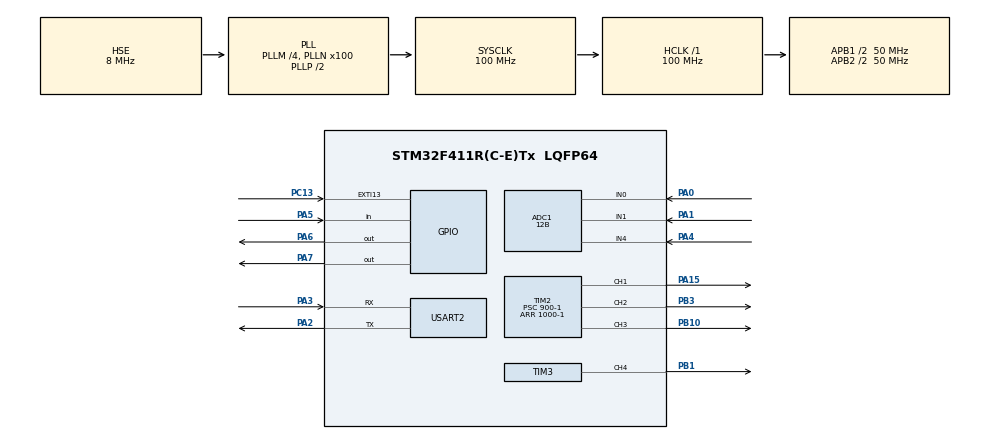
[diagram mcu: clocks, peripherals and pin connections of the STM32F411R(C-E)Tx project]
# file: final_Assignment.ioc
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ADC1.Channel-0\#ChannelRegularConversion=ADC_CHANNEL_0
ADC1.Channel-1\#ChannelRegularConversion=ADC_CHANNEL_1
ADC1.Channel-2\#ChannelRegularConversion=ADC_CHANNEL_4
ADC1.ContinuousConvMode=ENABLE
ADC1.EOCSelection=ADC_EOC_SINGLE_CONV
ADC1.NbrOfConversion=3
ADC1.NbrOfConversionFlag=1
ADC1.Rank-0\#ChannelRegularConversion=1
ADC1.Rank-1\#ChannelRegularConversion=2
ADC1.Rank-2\#ChannelRegularConversion=3
ADC1.Resolution=ADC_RESOLUTION_12B
ADC1.SamplingTime-0\#ChannelRegularConversion=ADC_SAMPLETIME_480CYCLES
ADC1.SamplingTime-1\#ChannelRegularConversion=ADC_SAMPLETIME_480CYCLES
ADC1.SamplingTime-2\#ChannelRegularConversion=ADC_SAMPLETIME_480CYCLES
ADC1.ScanConvMode=ENABLE
ADC1.master=1
Mcu.Family=STM32F4
Mcu.Name=STM32F411R(C-E)Tx
Mcu.Package=LQFP64
NVIC.EXTI15_10_IRQn=true\:1\:1\:true\:false\:true\:true\:true
NVIC.PriorityGroup=NVIC_PRIORITYGROUP_1
NVIC.TIM2_IRQn=true\:0\:0\:false\:false\:true\:true\:true
NVIC.TIM3_IRQn=true\:0\:0\:false\:false\:true\:true\:true
PA0-WKUP.Signal=ADCx_IN0
PA1.Signal=ADCx_IN1
PA15.Signal=S_TIM2_CH1_ETR
PA2.Mode=Asynchronous
PA2.Signal=USART2_TX
PA3.Mode=Asynchronous
PA3.Signal=USART2_RX
PA4.Signal=ADCx_IN4
PA5.GPIO_Mode=GPIO_MODE_INPUT
PA5.GPIO_PuPd=GPIO_PULLUP
PA5.Signal=GPIO_Input
PA6.Signal=GPIO_Output
PA7.Signal=GPIO_Output
PB1.Signal=S_TIM3_CH4
PB10.Signal=S_TIM2_CH3
PB3.Signal=S_TIM2_CH2
PC13-ANTI_TAMP.GPIO_ModeDefaultEXTI=GPIO_MODE_IT_FALLING
PC13-ANTI_TAMP.Signal=GPXTI13
PH0\ -\ OSC_IN.Mode=HSE-External-Oscillator
PH0\ -\ OSC_IN.Signal=RCC_OSC_IN
PH1\ -\ OSC_OUT.Mode=HSE-External-Oscillator
PH1\ -\ OSC_OUT.Signal=RCC_OSC_OUT
ProjectManager.HeapSize=0x200
ProjectManager.StackSize=0x400
ProjectManager.TargetToolchain=MDK-ARM V5
RCC.48MHZClocksFreq_Value=50000000
RCC.AHBFreq_Value=100000000
RCC.APB1CLKDivider=RCC_HCLK_DIV2
RCC.APB1Freq_Value=50000000
RCC.APB1TimFreq_Value=100000000
RCC.APB2CLKDivider=RCC_HCLK_DIV2
RCC.APB2Freq_Value=50000000
RCC.APB2TimFreq_Value=100000000
RCC.CortexFreq_Value=100000000
RCC.FLatency-AdvancedSettings=FLASH_LATENCY_3
RCC.HCLKFreq_Value=100000000
RCC.HSE_VALUE=8000000
RCC.HSI_VALUE=16000000
RCC.LSE_VALUE=32768
RCC.PLLM=4
RCC.PLLN=100
RCC.PLLSourceVirtual=RCC_PLLSOURCE_HSE
RCC.SYSCLKFreq_VALUE=100000000
RCC.SYSCLKSource=RCC_SYSCLKSOURCE_PLLCLK
RCC.VCOOutputFreq_Value=200000000
SH.ADCx_IN0.0=ADC1_IN0,IN0
SH.ADCx_IN1.0=ADC1_IN1,IN1
SH.ADCx_IN4.0=ADC1_IN4,IN4
SH.S_TIM2_CH1_ETR.0=TIM2_CH1,PWM Generation1 CH1
SH.S_TIM2_CH2.0=TIM2_CH2,PWM Generation2 CH2
SH.S_TIM2_CH3.0=TIM2_CH3,PWM Generation3 CH3
SH.S_TIM3_CH4.0=TIM3_CH4,PWM Generation4 CH4
TIM2.Channel-PWM\ Generation1\ CH1=TIM_CHANNEL_1
TIM2.Channel-PWM\ Generation2\ CH2=TIM_CHANNEL_2
TIM2.Channel-PWM\ Generation3\ CH3=TIM_CHANNEL_3
TIM2.Period=1000-1
TIM2.Prescaler=900-1
TIM3.Channel-PWM\ Generation4\ CH4=TIM_CHANNEL_4
TIM3.Period=1000-1
TIM3.Prescaler=900-1
USART2.VirtualMode=VM_ASYNC
board=NUCLEO-F411RE

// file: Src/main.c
/* USER CODE BEGIN Header */
/**
  ******************************************************************************
  * @file           : main.c
  * @brief          : Main program body
  ******************************************************************************
  * @attention
  *
  * <h2><center>&copy; Copyright (c) 2020 STMicroelectronics.
  * All rights reserved.</center></h2>
  *
  * This software component is licensed by ST under BSD 3-Clause license,
  * the "License"; You may not use this file except in compliance with the
  * License. You may obtain a copy of the License at:
  *                        opensource.org/licenses/BSD-3-Clause
  *
  ******************************************************************************
  */
/* USER CODE END Header */

#include "main.h"
#include "adc.h"
#include "tim.h"
#include "usart.h"
#include "gpio.h"

/* USER CODE BEGIN Includes */
#include "string.h"
#include "stdio.h"
#include "stm32f4xx_it.h"
/* USER CODE END Includes */

/* USER CODE BEGIN PTD */
	uint16_t adc1,adc2,adc3;
	char msg[10];

/*----------------LEFT------------------------------*/
void servo_write2(int angle)
{
			htim2.Instance->CCR3	= map(0,180,25,125,angle*3);
}
/*----------------RIGHT------------------------------*/
void servo_write1(int angle)
{
	htim2.Instance->CCR2 = map(0,180,25,125,angle*2);
}
/*----------------BASE------------------------------*/
void servo_write(int angle)
{
	htim2.Instance->CCR1 = map(0,180,25,125,angle*3);

}

void servo_sweep(adc1,adc2,adc3)
{
				servo_write(adc1);
		   	HAL_Delay(10);

				servo_write1(adc2);
		   	HAL_Delay(10);

				servo_write2(adc3);
		   	HAL_Delay(10);

}
int map(int st1, int fn1, int st2, int fn2, int value)
{
    return (1.0*(value-st1))/((fn1-st1)*1.0) * (fn2-st2)+st2;
}

void manualMode(){

		 // Get ADC value
    HAL_ADC_Start(&hadc1);

		HAL_ADC_PollForConversion(&hadc1, HAL_MAX_DELAY);
		adc1 = HAL_ADC_GetValue(&hadc1);

		HAL_ADC_PollForConversion(&hadc1, HAL_MAX_DELAY);
		adc3 = HAL_ADC_GetValue(&hadc1);

		HAL_ADC_PollForConversion(&hadc1, HAL_MAX_DELAY);
		adc2 = HAL_ADC_GetValue(&hadc1);

		adc1 = adc1*0.045;

		adc2 = adc2*0.045;

		adc3 = adc3*0.045;

		sprintf(msg, "%hu\r\n", adc1);
    HAL_UART_Transmit(&huart2, (uint8_t*)msg, strlen(msg), HAL_MAX_DELAY);

		sprintf(msg, "%hu\r\n", adc2);
    HAL_UART_Transmit(&huart2, (uint8_t*)msg, strlen(msg), HAL_MAX_DELAY);

    sprintf(msg, "%hu\r\n", adc3);
    HAL_UART_Transmit(&huart2, (uint8_t*)msg, strlen(msg), HAL_MAX_DELAY);

		HAL_ADC_Stop(&hadc1);
		servo_sweep(adc1,adc2,adc3); //Use servo
}

void autoMode(){

		HAL_GPIO_WritePin(GPIOA,GPIO_PIN_7,1);
		HAL_GPIO_WritePin(GPIOA,GPIO_PIN_6,0);

		//Base
		htim2.Instance->CCR1 = 210;
		HAL_Delay(2000);

		//Head
		htim3.Instance->CCR4 = 300;
		HAL_Delay(2000);

		htim3.Instance->CCR4 = 150;
		HAL_Delay(2000);

		//Base
		htim2.Instance->CCR1 = 60;
		HAL_Delay(2000);

		//Head
		htim3.Instance->CCR4 = 300;
		HAL_Delay(2000);

		htim3.Instance->CCR4 = 150;
		HAL_Delay(2000);

}

void EXTI15_10_IRQHandler(void)
{
  /* USER CODE BEGIN EXTI15_10_IRQn 0 */
	if(HAL_GPIO_ReadPin(GPIOC,GPIO_PIN_13)==0){
		autoMode();
	}
  /* USER CODE END EXTI15_10_IRQn 0 */
  HAL_GPIO_EXTI_IRQHandler(GPIO_PIN_13);
  /* USER CODE BEGIN EXTI15_10_IRQn 1 */

  /* USER CODE END EXTI15_10_IRQn 1 */
}

extern ADC_HandleTypeDef hadc1;
extern UART_HandleTypeDef huart2;
/* USER CODE END PTD */

void SystemClock_Config(void);

int main(void)
{

  /* MCU Configuration--------------------------------------------------------*/

  /* Reset of all peripherals, Initializes the Flash interface and the Systick. */
  HAL_Init();

  /* Configure the system clock */
  SystemClock_Config();

  /* Initialize all configured peripherals */
  MX_GPIO_Init();
  MX_ADC1_Init();
  MX_TIM2_Init();
  MX_TIM3_Init();
  MX_USART2_UART_Init();
  /* USER CODE BEGIN 2 */

	HAL_TIM_PWM_Start(&htim2, TIM_CHANNEL_1);
	HAL_TIM_PWM_Start(&htim2, TIM_CHANNEL_2);
	HAL_TIM_PWM_Start(&htim2, TIM_CHANNEL_3);
	HAL_TIM_PWM_Start(&htim3, TIM_CHANNEL_4);
	int check(int);
	void servo_write(int);
	void servo_write1(int);
	void servo_write2(int);
	void servo_sweep(int,int,int);
	int map(int, int, int, int, int);
	void manualMode(void);
	void autoMode(void);
  /* USER CODE END 2 */

  /* Infinite loop */
  while (1)
  {

    /* USER CODE BEGIN 3 */

		/*----------------HEAD------------------------------if open ==300   close==200*/
		if(HAL_GPIO_ReadPin(GPIOA,GPIO_PIN_5)==0){

			htim3.Instance->CCR4 = 300;

		}else{

			htim3.Instance->CCR4 = 150;
		}

		/*------------------------------LED-----------------------------------*/
		HAL_GPIO_WritePin(GPIOA,GPIO_PIN_6,1);
		HAL_GPIO_WritePin(GPIOA,GPIO_PIN_7,0);
		/*--------------------------------ADC---------------------------------*/
		HAL_Delay(10);
		manualMode();

		// Convert to string and print
    // Pretend we have to do something else for a while
    HAL_Delay(100);
  }
  /* USER CODE END 3 */
}

void SystemClock_Config(void)
{
  RCC_OscInitTypeDef RCC_OscInitStruct = {0};
  RCC_ClkInitTypeDef RCC_ClkInitStruct = {0};

  /** Configure the main internal regulator output voltage
  */
  __HAL_RCC_PWR_CLK_ENABLE();
  __HAL_PWR_VOLTAGESCALING_CONFIG(PWR_REGULATOR_VOLTAGE_SCALE1);
  /** Initializes the CPU, AHB and APB busses clocks
  */
  RCC_OscInitStruct.OscillatorType = RCC_OSCILLATORTYPE_HSE;
  RCC_OscInitStruct.HSEState = RCC_HSE_ON;
  RCC_OscInitStruct.PLL.PLLState = RCC_PLL_ON;
  RCC_OscInitStruct.PLL.PLLSource = RCC_PLLSOURCE_HSE;
  RCC_OscInitStruct.PLL.PLLM = 4;
  RCC_OscInitStruct.PLL.PLLN = 100;
  RCC_OscInitStruct.PLL.PLLP = RCC_PLLP_DIV2;
  RCC_OscInitStruct.PLL.PLLQ = 4;
  if (HAL_RCC_OscConfig(&RCC_OscInitStruct) != HAL_OK)
  {
    Error_Handler();
  }
  /** Initializes the CPU, AHB and APB busses clocks
  */
  RCC_ClkInitStruct.ClockType = RCC_CLOCKTYPE_HCLK|RCC_CLOCKTYPE_SYSCLK
                              |RCC_CLOCKTYPE_PCLK1|RCC_CLOCKTYPE_PCLK2;
  RCC_ClkInitStruct.SYSCLKSource = RCC_SYSCLKSOURCE_PLLCLK;
  RCC_ClkInitStruct.AHBCLKDivider = RCC_SYSCLK_DIV1;
  RCC_ClkInitStruct.APB1CLKDivider = RCC_HCLK_DIV2;
  RCC_ClkInitStruct.APB2CLKDivider = RCC_HCLK_DIV2;

  if (HAL_RCC_ClockConfig(&RCC_ClkInitStruct, FLASH_LATENCY_3) != HAL_OK)
  {
    Error_Handler();
  }
}

void Error_Handler(void)
{
}

/************************ (C) COPYRIGHT STMicroelectronics *****END OF FILE****/
